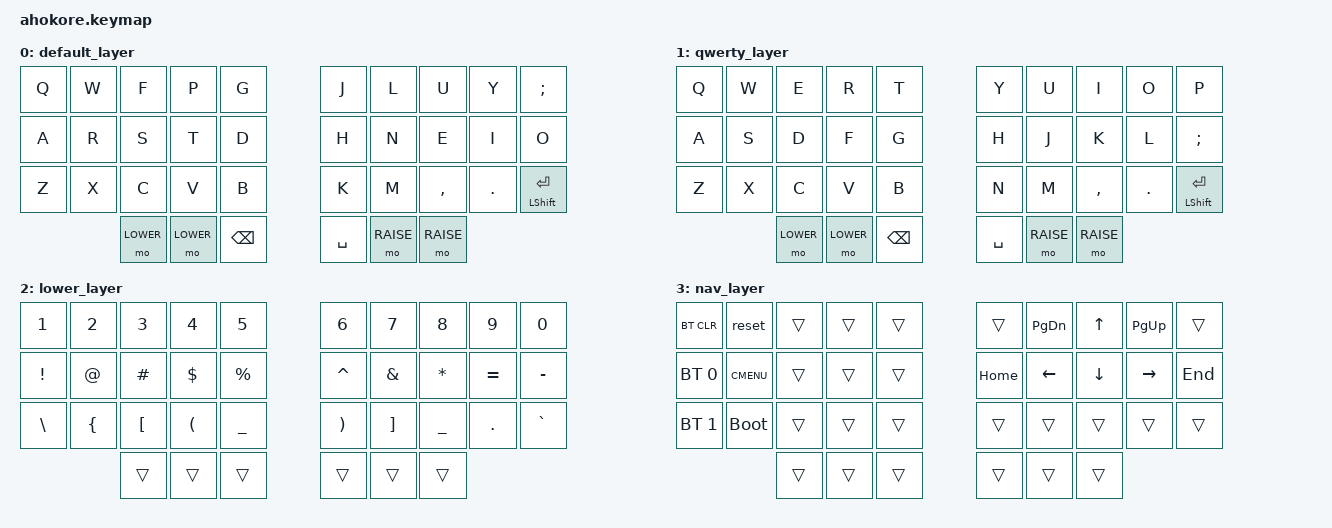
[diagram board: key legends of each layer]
/*
 * Copyright (c) 2020 The ZMK Contributors
 *
 * SPDX-License-Identifier: MIT
 */

#include <behaviors.dtsi>
#include <dt-bindings/zmk/keys.h>
#include <dt-bindings/zmk/bt.h>

#define DEFAULT 0
#define QWERTY 1
#define LOWER   2
#define RAISE   3

/ {

behaviors {
      hm: homerow_mods {
        compatible = "zmk,behavior-hold-tap";
        label = "HOMEROW_MODS";
        #binding-cells = <2>;
        tapping_term_ms = <300>;
        flavor = "tap-preferred";
        bindings = <&kp>, <&kp>;
    };

    combos {
    compatible = "zmk,combos";
    combo_del {
        timeout-ms = <50>;
        key-positions = <18 19>;
        bindings = <&kp DEL>;
        layers = <1>;
    };
    combo_bspc {
        timeout-ms = <50>;
        key-positions = <8 9>;
        bindings = <&kp BKSP>;
        layers = <0 1>;
    };
    combo_tab {
        timeout-ms = <50>;
        key-positions = <0 1>;
        bindings = <&kp TAB>;
        layers = <0>;

    };
    combo_esc {
        timeout-ms = <50>;
        key-positions = <1 2>;
        bindings = <&kp ESC>;
        layers = <0>;

    };
};

};
        keymap {
                compatible = "zmk,keymap";

                default_layer {
// -----------------------------------------------------------------------------------------
// |  Q  |  W  |  F  |  P  |  G   |  J  |  L   |  U  |  Y  |  ;  |
// |  A  |  R  |  S  |  T  |  D   |  H  |  N   |  E  |  I  |  O  |
// |  Z  |  X  |  C  |  V  |  B   |  K  |  M   |  ,  |  .  | S/E |
//             | LOW | LOW |  BSP | SPC | RSE  | RSE |
                        bindings = <
   &kp Q &kp W &kp F &kp P &kp G &kp J &kp L &kp U &kp Y &kp SEMI
   &kp A &kp R &kp S &kp T &kp D &kp H &kp N &kp E &kp I &kp O
   &kp Z &kp X &kp C &kp V &kp B &kp K &kp M &kp COMMA &kp DOT &mt LSHFT RET
   &mo LOWER &mo LOWER &kp BSPC &kp SPACE &mo RAISE &mo RAISE
                        >;
                };
                
                qwerty_layer {
// -----------------------------------------------------------------------------------------
// |  Q  |  W  |  E  |  R  |  T   |  Y  |  U   |  I  |  O  |  P  |
// |  A  |  S  |  D  |  F  |  G   |  H  |  J   |  K  |  L  |  ;  |
// |  Z  |  X  |  C  |  V  |  B   |  N  |  M   |  ,  |  .  |  /  |
//             | LOW | LOW |  BSP | SPC | RSE  | RSE |
                        bindings = <
   &kp Q &kp W &kp E &kp R &kp T &kp Y &kp U &kp I &kp O &kp P
   &kp A &kp S &kp D &kp F &kp G &kp H &kp J &kp K &kp L &kp SEMI
   &kp Z &kp X &kp C &kp V &kp B &kp N &kp M &kp COMMA &kp DOT &mt LSHFT RET
   &mo LOWER &mo LOWER &kp BSPC &kp SPACE &mo RAISE &mo RAISE
                        >;
                };
                
                lower_layer {
// -----------------------------------------------------------------------------------------
// |  1  |  2  |  3  |  4  |  5  |  6  |  7  |  8  |  9  |  0  |
// |  !  |  @  |  #  |  $  |  %  |  ^  |  &  |  *  |  =  |  -  |
// |  \  |  {  |  [  |  (  |  _  |  )  |  ]  |  }  |  .  |  `  |
//             | CTL | ALT |  ENT | SPC | GUI  | CTL |
                        bindings = <
   &kp N1 &kp N2 &kp N3 &kp N4 &kp N5 &kp N6 &kp N7 &kp N8 &kp N9 &kp N0
   &kp EXCL  &kp AT    &kp HASH  &kp DOLLAR  &kp PRCNT   &kp CARET &kp AMPS  &kp STAR  &kp EQUAL  &kp MINUS
   &kp BSLH  &kp LBRC  &kp LBKT  &kp LPAR    &kp UNDER   &kp RPAR  &kp RBKT  &kp UNDER &kp DOT    &kp GRAVE
   &trans    &trans    &trans    &trans      &trans      &trans
                        >;
                };

                nav_layer {
// -----------------------------------------------------------------------------------------
// |BTCLR| RST |     |      |     |      | PGDN |  UP  | PGUP |      |
// | BT0 |CMENU|     |      |     | HOME | LEFT | DOWN |RIGHT | END  |
// | BT1 | BOOT|     |      |     |      |      |      |      |      |
//             | CTL | ALT |  ENT | SPC | GUI  | CTL |
                        bindings = <
   &bt BT_CLR   &reset      &trans  &trans &trans     &trans    &kp PG_DN &kp UP    &kp PG_UP &trans
   &bt BT_SEL 0 &kp K_CMENU &trans  &trans &trans     &kp HOME  &kp LEFT  &kp DOWN  &kp RIGHT &kp END
   &bt BT_SEL 1 &bootloader &trans  &trans &trans     &trans    &trans    &trans    &trans    &trans
   &trans   &trans    &trans     &trans   &trans   &trans
                        >;
                };


        };
};
